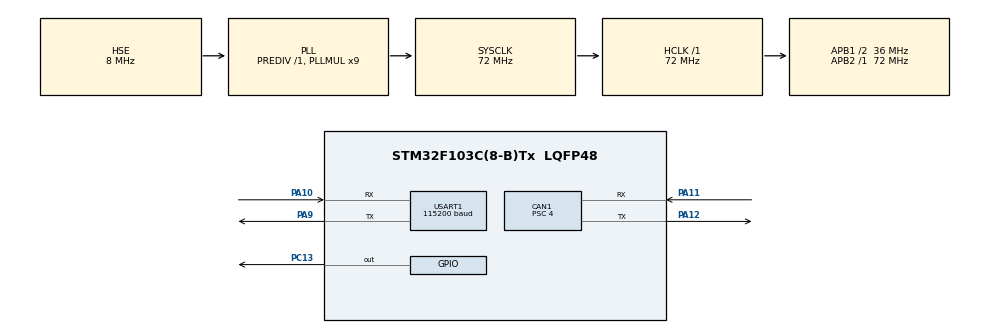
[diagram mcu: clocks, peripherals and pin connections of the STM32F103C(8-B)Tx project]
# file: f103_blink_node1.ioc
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CAN1.BS1=CAN_BS1_15TQ
CAN1.BS2=CAN_BS2_2TQ
CAN1.CalculateBaudRate=500000
CAN1.CalculateTimeBit=2000
CAN1.CalculateTimeQuantum=111.11111111111111
CAN1.Prescaler=4
FREERTOS.Tasks01=defaultTask,0,128,StartDefaultTask,Default,NULL,Dynamic,NULL,NULL
Mcu.Family=STM32F1
Mcu.Name=STM32F103C(8-B)Tx
Mcu.Package=LQFP48
NVIC.PriorityGroup=NVIC_PRIORITYGROUP_4
NVIC.USB_LP_CAN1_RX0_IRQn=true\:5\:0\:false\:false\:true\:true\:true\:true\:true
NVIC.CAN1_TX_IRQn=true\:5\:0\:false\:false\:true\:true\:true\:true\:true
NVIC.CAN1_SCE_IRQn=true\:5\:0\:false\:false\:true\:true\:true\:true\:true
NVIC.USART1_IRQn=true\:6\:0\:false\:false\:true\:true\:true\:true\:true
PA10.Mode=Asynchronous
PA10.Signal=USART1_RX
PA11.Mode=CAN_Activate
PA11.Signal=CAN1_RX
PA12.Mode=CAN_Activate
PA12.Signal=CAN1_TX
PA13.Mode=Serial_Wire
PA13.Signal=SYS_JTMS-SWDIO
PA14.Mode=Serial_Wire
PA14.Signal=SYS_JTCK-SWCLK
PA9.Mode=Asynchronous
PA9.Signal=USART1_TX
PC13-TAMPER-RTC.Signal=GPIO_Output
PD0-OSC_IN.Mode=HSE-External-Oscillator
PD0-OSC_IN.Signal=RCC_OSC_IN
PD1-OSC_OUT.Mode=HSE-External-Oscillator
PD1-OSC_OUT.Signal=RCC_OSC_OUT
ProjectManager.HeapSize=0x200
ProjectManager.StackSize=0x400
ProjectManager.TargetToolchain=STM32CubeIDE
RCC.AHBFreq_Value=72000000
RCC.APB1CLKDivider=RCC_HCLK_DIV2
RCC.APB1Freq_Value=36000000
RCC.APB1TimFreq_Value=72000000
RCC.APB2Freq_Value=72000000
RCC.APB2TimFreq_Value=72000000
RCC.HCLKFreq_Value=72000000
RCC.PLLMUL=RCC_PLL_MUL9
RCC.PLLSourceVirtual=RCC_PLLSOURCE_HSE
RCC.SYSCLKFreq_VALUE=72000000
RCC.SYSCLKSource=RCC_SYSCLKSOURCE_PLLCLK
RCC.USBFreq_Value=72000000
USART1.BaudRate=115200
USART1.Parity=None
USART1.StopBits=1
USART1.VirtualMode=VM_ASYNC
USART1.WordLength=8
VP_FREERTOS_VS_CMSIS_V1.Mode=CMSIS_V1
board=custom

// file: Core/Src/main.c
/* USER CODE BEGIN Header */
/**
  ******************************************************************************
  * @file           : main.c
  * @brief          : Main program body
  ******************************************************************************
  * @attention
  *
  * Copyright (c) 2026 STMicroelectronics.
  * All rights reserved.
  *
  * This software is licensed under terms that can be found in the LICENSE file
  * in the root directory of this software component.
  * If no LICENSE file comes with this software, it is provided AS-IS.
  *
  ******************************************************************************
  */
/* USER CODE END Header */
#include "main.h"
#include "gpio.h"

/* USER CODE BEGIN Includes */
#include "can.h"
#include "usart.h"
#include "cmsis_os.h"
#include <stdio.h>

/* USER CODE END Includes */

void SystemClock_Config(void);
void MX_FREERTOS_Init(void);
void MX_CAN1_Init(void);
void MX_USART1_UART_Init(void);

int main(void)
{

  /* MCU Configuration--------------------------------------------------------*/

  /* Reset of all peripherals, Initializes the Flash interface and the Systick. */
  HAL_Init();

  /* Configure the system clock */
  SystemClock_Config();

  /* Initialize all configured peripherals */
  MX_GPIO_Init();
  MX_USART1_UART_Init();
  MX_CAN1_Init();
  /* USER CODE BEGIN 2 */
  printf("F103 Node1 Sensor Start!\r\n");

  /* USER CODE END 2 */

  /* Call init function for freertos objects */
  MX_FREERTOS_Init();

  /* Start scheduler */
  osKernelStart();

  /* We should never get here as control is now taken by the scheduler */

  /* Infinite loop */
  while (1)
  {

  }
  /* USER CODE END 3 */
}

void SystemClock_Config(void)
{
  RCC_OscInitTypeDef RCC_OscInitStruct = {0};
  RCC_ClkInitTypeDef RCC_ClkInitStruct = {0};

  /** Initializes the RCC Oscillators according to the specified parameters
  * in the RCC_OscInitTypeDef structure.
  */
  RCC_OscInitStruct.OscillatorType = RCC_OSCILLATORTYPE_HSE;
  RCC_OscInitStruct.HSEState = RCC_HSE_ON;
  RCC_OscInitStruct.HSEPredivValue = RCC_HSE_PREDIV_DIV1;
  RCC_OscInitStruct.HSIState = RCC_HSI_ON;
  RCC_OscInitStruct.PLL.PLLState = RCC_PLL_ON;
  RCC_OscInitStruct.PLL.PLLSource = RCC_PLLSOURCE_HSE;
  RCC_OscInitStruct.PLL.PLLMUL = RCC_PLL_MUL9;
  if (HAL_RCC_OscConfig(&RCC_OscInitStruct) != HAL_OK)
  {
    Error_Handler();
  }

  /** Initializes the CPU, AHB and APB buses clocks
  */
  RCC_ClkInitStruct.ClockType = RCC_CLOCKTYPE_HCLK|RCC_CLOCKTYPE_SYSCLK
                              |RCC_CLOCKTYPE_PCLK1|RCC_CLOCKTYPE_PCLK2;
  RCC_ClkInitStruct.SYSCLKSource = RCC_SYSCLKSOURCE_PLLCLK;
  RCC_ClkInitStruct.AHBCLKDivider = RCC_SYSCLK_DIV1;
  RCC_ClkInitStruct.APB1CLKDivider = RCC_HCLK_DIV2;
  RCC_ClkInitStruct.APB2CLKDivider = RCC_HCLK_DIV1;

  if (HAL_RCC_ClockConfig(&RCC_ClkInitStruct, FLASH_LATENCY_2) != HAL_OK)
  {
    Error_Handler();
  }
}

void Error_Handler(void)
{
  __disable_irq();
  while (1)
  {
  }
}

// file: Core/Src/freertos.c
/* USER CODE BEGIN Header */
/**
  ******************************************************************************
  * File Name          : freertos.c
  * Description        : Code for freertos applications
  ******************************************************************************
  */
/* USER CODE END Header */

#include "FreeRTOS.h"
#include "task.h"
#include "main.h"
#include "cmsis_os.h"

/* USER CODE BEGIN Includes */
#include <stdio.h>
#include "app_can.h"
/* USER CODE END Includes */

/* USER CODE BEGIN Variables */
osMutexId uartMutexHandle;
/* USER CODE END Variables */
osThreadId defaultTaskHandle;

void StartDefaultTask(void const * argument);

void MX_FREERTOS_Init(void); /* (MISRA C 2004 rule 8.1) */

/* GetIdleTaskMemory prototype (linked to static allocation support) */
void vApplicationGetIdleTaskMemory( StaticTask_t **ppxIdleTaskTCBBuffer, StackType_t **ppxIdleTaskStackBuffer, uint32_t *pulIdleTaskStackSize );

/* USER CODE BEGIN GET_IDLE_TASK_MEMORY */
static StaticTask_t xIdleTaskTCBBuffer;
static StackType_t xIdleStack[configMINIMAL_STACK_SIZE];

void vApplicationGetIdleTaskMemory( StaticTask_t **ppxIdleTaskTCBBuffer, StackType_t **ppxIdleTaskStackBuffer, uint32_t *pulIdleTaskStackSize )
{
  *ppxIdleTaskTCBBuffer = &xIdleTaskTCBBuffer;
  *ppxIdleTaskStackBuffer = &xIdleStack[0];
  *pulIdleTaskStackSize = configMINIMAL_STACK_SIZE;
}
/* USER CODE END GET_IDLE_TASK_MEMORY */

void MX_FREERTOS_Init(void) {
  /* USER CODE BEGIN Init */
  NodeCanInit();
  /* USER CODE END Init */

  /* USER CODE BEGIN RTOS_MUTEX */
  /* add mutexes, ... */
  osMutexDef(uartMutex);

  uartMutexHandle = osMutexCreate(osMutex(uartMutex));
  /* USER CODE END RTOS_MUTEX */

  /* Create the thread(s) */
  /* definition and creation of defaultTask */
  osThreadDef(defaultTask, StartDefaultTask, osPriorityNormal, 0, 128);
  defaultTaskHandle = osThreadCreate(osThread(defaultTask), NULL);

  /* USER CODE BEGIN RTOS_THREADS */
  /* Day 16：CAN 接收任务（收 Master 命令帧，优先级 1） */
  osThreadDef(canRxTask,
              CanRxTask,
              osPriorityAboveNormal,
              0,
              256);

  osThreadCreate(
              osThread(canRxTask),
              NULL);

  /* Day 16：CAN 发送任务（周期发传感器数据，优先级 0） */
  osThreadDef(canTxTask,
              CanTxTask,
              osPriorityNormal,
              0,
              256);

  osThreadCreate(
              osThread(canTxTask),
              NULL);
  /* USER CODE END RTOS_THREADS */

}

void StartDefaultTask(void const * argument)
{
  /* USER CODE BEGIN StartDefaultTask */
  printf("[NODE1] FreeRTOS running\r\n");

  for(;;)
  {
    HAL_GPIO_TogglePin(GPIOC, GPIO_PIN_13);
    osDelay(1000);
  }
  /* USER CODE END StartDefaultTask */
}

/* USER CODE BEGIN Application */

/**
  * @brief  内存分配失败钩子：pvPortMalloc 申请失败时由内核调用
  */
void vApplicationMallocFailedHook(void)
{
    taskENTER_CRITICAL();
    printf("[NODE1] !! MALLOC FAILED HOOK !!\r\n");
    taskEXIT_CRITICAL();
}

/**
  * @brief  栈溢出钩子：检测到任务栈溢出时打印并复位
  */
void vApplicationStackOverflowHook(TaskHandle_t xTask, char *pcTaskName)
{
    (void)xTask;

    taskENTER_CRITICAL();
    printf("[NODE1] STACK OVERFLOW task=%s\r\n", pcTaskName);
    taskEXIT_CRITICAL();

    NVIC_SystemReset();
}

/**
  * @brief  定时器服务任务内存（静态分配）
  */
static StaticTask_t xTimerTaskTCBBuffer;
static StackType_t xTimerStack[configTIMER_TASK_STACK_DEPTH];

void vApplicationGetTimerTaskMemory( StaticTask_t **ppxTimerTaskTCBBuffer, StackType_t **ppxTimerTaskStackBuffer, uint32_t *pulTimerTaskStackSize )
{
  *ppxTimerTaskTCBBuffer = &xTimerTaskTCBBuffer;
  *ppxTimerTaskStackBuffer = &xTimerStack[0];
  *pulTimerTaskStackSize = configTIMER_TASK_STACK_DEPTH;
}

/* USER CODE END Application */
